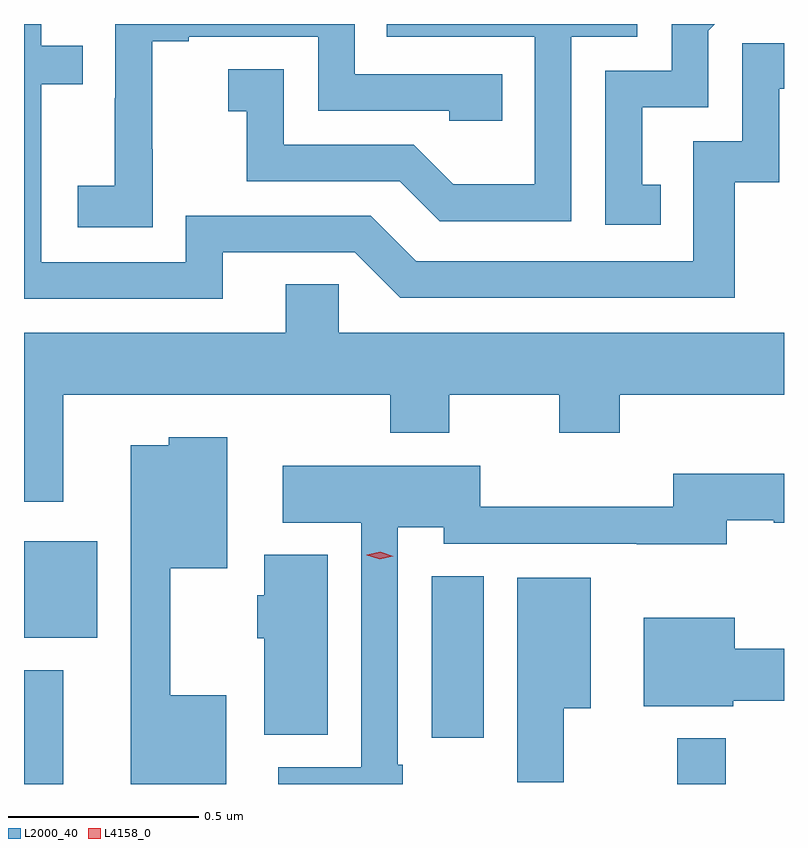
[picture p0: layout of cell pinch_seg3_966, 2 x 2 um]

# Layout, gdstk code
import gdstk
lib = gdstk.Library(unit=1e-6, precision=1e-09)
def R(c, l, rs):  # rectangles x0, y0, x1, y1
    for r in rs: c.add(gdstk.rectangle(r[:2], r[2:], *l))
def P(c, l, *ps):  # polygons
    for p in ps: c.add(gdstk.Polygon(p, *l))
L2000_40 = (2000, 40)
L4158_0 = (4158, 0)

pinch_seg3_966 = lib.new_cell('pinch_seg3_966')
R(pinch_seg3_966, L2000_40, [(508.83,714.544,508.933,714.844), (510.549,714.544,510.677,714.664), (509.903,714.666,510.04,715.091), (508.83,714.929,509.023,715.183)])
P(pinch_seg3_966, L2000_40, [(510.506,716.121),(510.457,716.121),(510.457,716.325),(510.63,716.325),(510.63,716.526),(510.648,716.544),(510.534,716.544),(510.534,716.421),(510.36,716.421),(510.36,716.016),(510.506,716.016)],
  [(509.353,715.944),(509.7,715.944),(509.82,715.824),(510.7,715.824),(510.7,716.127),(510.818,716.127),(510.818,716.373),(510.83,716.373),(510.83,716.494),(510.72,716.494),(510.72,716.235),(510.591,716.235),(510.591,715.92),(509.862,715.92),(509.742,716.04),(509.256,716.04),(509.256,715.917),(508.875,715.917),(508.875,716.386),(508.985,716.386),(508.985,716.487),(508.875,716.487),(508.875,716.544),(508.83,716.544),(508.83,715.821),(509.353,715.821)],
  [(509.169,716.215),(509.168,716.215),(509.168,716.499),(509.263,716.499),(509.263,716.511),(509.604,716.511),(509.604,716.316),(509.949,716.316),(509.949,716.289),(510.089,716.289),(510.089,716.412),(509.7,716.412),(509.7,716.544),(509.07,716.544),(509.07,716.348),(509.069,716.348),(509.069,716.119),(508.971,716.119),(508.971,716.009),(509.169,716.009)],
  [(510.27,716.511),(510.444,716.511),(510.444,716.544),(509.785,716.544),(509.785,716.511),(510.174,716.511),(510.174,716.122),(509.96,716.122),(509.856,716.226),(509.514,716.226),(509.514,716.425),(509.367,716.425),(509.367,716.315),(509.416,716.315),(509.416,716.13),(509.819,716.13),(509.924,716.025),(510.27,716.025)],
  [(508.933,715.568),(509.794,715.568),(509.794,715.469),(509.949,715.469),(509.949,715.568),(510.238,715.568),(510.238,715.469),(510.398,715.469),(510.398,715.568),(510.83,715.568),(510.83,715.732),(509.658,715.732),(509.658,715.859),(509.519,715.859),(509.519,715.732),(508.83,715.732),(508.83,715.287),(508.933,715.287)],
  [(509.362,714.778),(509.215,714.778),(509.215,715.112),(509.365,715.112),(509.365,715.456),(509.211,715.456),(509.211,715.435),(509.111,715.435),(509.111,714.544),(509.362,714.544)],
  [(509.827,714.595),(509.814,714.595),(509.814,715.22),(509.934,715.22),(509.934,715.176),(510.443,715.176),(510.443,715.175),(510.679,715.175),(510.679,715.238),(510.803,715.238),(510.803,715.231),(510.83,715.231),(510.83,715.36),(510.539,715.36),(510.539,715.274),(510.03,715.274),(510.03,715.381),(509.511,715.381),(509.511,715.232),(509.718,715.232),(509.718,714.588),(509.499,714.588),(509.499,714.544),(509.827,714.544)],
  [(509.629,715.147),(509.462,715.147),(509.462,715.041),(509.444,715.041),(509.444,714.927),(509.462,714.927),(509.462,714.673),(509.629,714.673)],
  [(510.25,714.743),(510.322,714.743),(510.322,715.087),(510.128,715.087),(510.128,714.549),(510.25,714.549)],
  [(510.696,714.763),(510.83,714.763),(510.83,714.9),(510.7,714.9),(510.7,714.982),(510.461,714.982),(510.461,714.749),(510.696,714.749)])
P(pinch_seg3_966, L4158_0, [(509.766,715.135),(509.732,715.146),(509.732,715.146),(509.732,715.147),(509.767,715.155),(509.802,715.144),(509.802,715.144),(509.802,715.144)])

lib.write_gds('pinch_seg3_966.gds')
